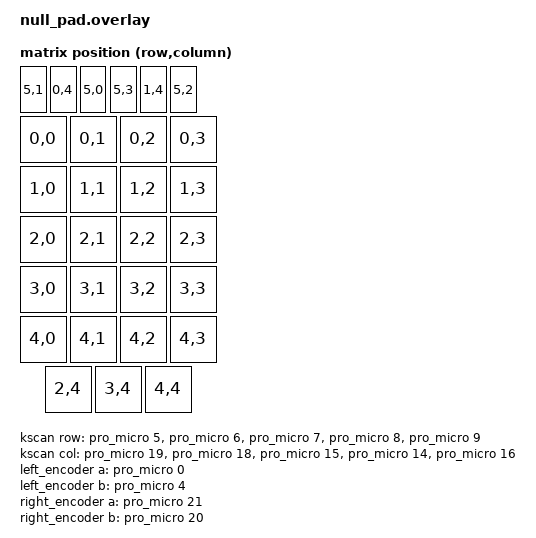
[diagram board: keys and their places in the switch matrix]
#include <dt-bindings/zmk/matrix_transform.h>
#include <physical_layouts.dtsi>

/* D16 = P0.10 est une broche NFC. */
&uicr {
    nfct-pins-as-gpios;
};

/ {
    chosen {
        zmk,kscan = &kscan;
        zmk,physical-layout = &null_pad_layout;
    };

    kscan: kscan {
        compatible = "zmk,kscan-gpio-matrix";
        wakeup-source;
        diode-direction = "col2row";
        debounce-press-ms = <1>;
        debounce-release-ms = <5>;
        row-gpios
            = <&pro_micro 5 (GPIO_ACTIVE_HIGH | GPIO_PULL_DOWN)>
            , <&pro_micro 6 (GPIO_ACTIVE_HIGH | GPIO_PULL_DOWN)>
            , <&pro_micro 7 (GPIO_ACTIVE_HIGH | GPIO_PULL_DOWN)>
            , <&pro_micro 8 (GPIO_ACTIVE_HIGH | GPIO_PULL_DOWN)>
            , <&pro_micro 9 (GPIO_ACTIVE_HIGH | GPIO_PULL_DOWN)>
            ;
        col-gpios
            = <&pro_micro 19 GPIO_ACTIVE_HIGH>
            , <&pro_micro 18 GPIO_ACTIVE_HIGH>
            , <&pro_micro 15 GPIO_ACTIVE_HIGH>
            , <&pro_micro 14 GPIO_ACTIVE_HIGH>
            , <&pro_micro 16 GPIO_ACTIVE_HIGH>
            ;
    };

    /* Ordre = positions = InputId du moteur. Rangee 5 : molettes cachees, jamais scannee. */
    default_transform: matrix_transform {
        compatible = "zmk,matrix-transform";
        rows = <6>;
        columns = <5>;
        map = <
            RC(0,0) RC(0,1) RC(0,2) RC(0,3)
            RC(1,0) RC(1,1) RC(1,2) RC(1,3)
            RC(2,0) RC(2,1) RC(2,2) RC(2,3)
            RC(3,0) RC(3,1) RC(3,2) RC(3,3)
            RC(4,0) RC(4,1) RC(4,2) RC(4,3)
            RC(2,4) RC(3,4) RC(4,4)
            RC(5,0) RC(5,1) RC(0,4)
            RC(5,2) RC(5,3) RC(1,4)
        >;
    };

    null_pad_layout: null_pad_layout {
        compatible = "zmk,physical-layout";
        display-name = "NULL/PAD";
        transform = <&default_transform>;
        keys  //                     w   h    x    y     rot   rx   ry
            = <&key_physical_attrs 100 100    0  100       0    0    0>
            , <&key_physical_attrs 100 100  100  100       0    0    0>
            , <&key_physical_attrs 100 100  200  100       0    0    0>
            , <&key_physical_attrs 100 100  300  100       0    0    0>
            , <&key_physical_attrs 100 100    0  200       0    0    0>
            , <&key_physical_attrs 100 100  100  200       0    0    0>
            , <&key_physical_attrs 100 100  200  200       0    0    0>
            , <&key_physical_attrs 100 100  300  200       0    0    0>
            , <&key_physical_attrs 100 100    0  300       0    0    0>
            , <&key_physical_attrs 100 100  100  300       0    0    0>
            , <&key_physical_attrs 100 100  200  300       0    0    0>
            , <&key_physical_attrs 100 100  300  300       0    0    0>
            , <&key_physical_attrs 100 100    0  400       0    0    0>
            , <&key_physical_attrs 100 100  100  400       0    0    0>
            , <&key_physical_attrs 100 100  200  400       0    0    0>
            , <&key_physical_attrs 100 100  300  400       0    0    0>
            , <&key_physical_attrs 100 100    0  500       0    0    0>
            , <&key_physical_attrs 100 100  100  500       0    0    0>
            , <&key_physical_attrs 100 100  200  500       0    0    0>
            , <&key_physical_attrs 100 100  300  500       0    0    0>
            , <&key_physical_attrs 100 100   50  600       0    0    0>  // M1
            , <&key_physical_attrs 100 100  150  600       0    0    0>  // M2
            , <&key_physical_attrs 100 100  250  600       0    0    0>  // M3
            , <&key_physical_attrs  60 100  120    0       0    0    0>  // ENC_L_CW
            , <&key_physical_attrs  60 100    0    0       0    0    0>  // ENC_L_CCW
            , <&key_physical_attrs  60 100   60    0       0    0    0>  // clic ENC1
            , <&key_physical_attrs  60 100  300    0       0    0    0>  // ENC_R_CW
            , <&key_physical_attrs  60 100  180    0       0    0    0>  // ENC_R_CCW
            , <&key_physical_attrs  60 100  240    0       0    0    0>  // clic ENC2
            ;
    };

    left_encoder: left_encoder {
        compatible = "alps,ec11";
        a-gpios = <&pro_micro 0 (GPIO_ACTIVE_HIGH | GPIO_PULL_UP)>;
        b-gpios = <&pro_micro 4 (GPIO_ACTIVE_HIGH | GPIO_PULL_UP)>;
        steps = <96>;
        status = "okay";
    };

    right_encoder: right_encoder {
        compatible = "alps,ec11";
        a-gpios = <&pro_micro 21 (GPIO_ACTIVE_HIGH | GPIO_PULL_UP)>;
        b-gpios = <&pro_micro 20 (GPIO_ACTIVE_HIGH | GPIO_PULL_UP)>;
        steps = <96>;
        status = "okay";
    };

    sensors: sensors {
        compatible = "zmk,keymap-sensors";
        sensors = <&left_encoder &right_encoder>;
        triggers-per-rotation = <24>;
    };
};
